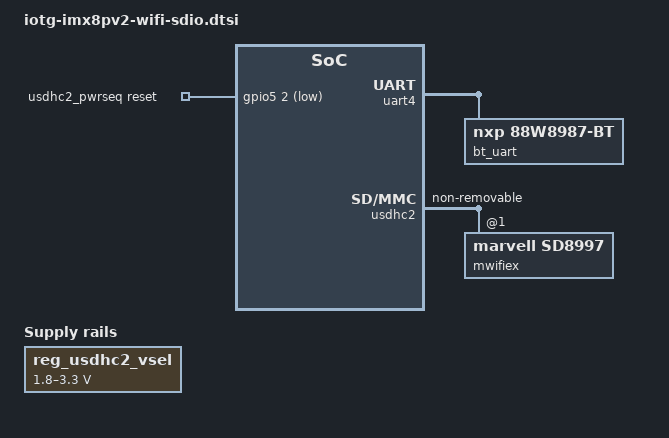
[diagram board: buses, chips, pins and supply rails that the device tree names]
/*
 * Copyright 2026 CompuLab
 */

/********** WiFi/BT **********/
&{/} {
	reg_usdhc2_vsel: regulator-usdhc2-vsel {
		compatible = "regulator-gpio";
		regulator-name = "sd-vsel";
		regulator-min-microvolt = <1800000>;
		regulator-max-microvolt = <3300000>;
		gpio = <&gpio1 4 GPIO_ACTIVE_HIGH>;
		states = <1800000 0x1 3300000 0x0>;
	};
	usdhc2_pwrseq: usdhc2_pwrseq {
		compatible = "mmc-pwrseq-simple";
		reset-gpios = <&gpio5 2 GPIO_ACTIVE_LOW>;
	};
};

&uart4 {
	uart-has-rtscts;
	status = "okay";

	bt_uart: bluetooth {
		compatible = "nxp,88w8987-bt";
		fw-init-baudrate = <3000000>;
	};
};

&usdhc2 {
	pinctrl-0 = <&pinctrl_usdhc2>, <&pinctrl_usdhc2_gpio>;
	pinctrl-1 = <&pinctrl_usdhc2_100mhz>, <&pinctrl_usdhc2_gpio>;
	pinctrl-2 = <&pinctrl_usdhc2_200mhz>, <&pinctrl_usdhc2_gpio>;
	non-removable;
	wakeup-source;
	mmc-pwrseq = <&usdhc2_pwrseq>;
	vqmmc-supply = <&reg_usdhc2_vsel>;
	#address-cells = <1>;
	#size-cells = <0>;
	status = "okay";

	mwifiex: wifi@1 {
		compatible = "marvell,sd8997";
		reg = <1>;
	};
};
/********** WiFi/BT - End **********/

&pcie {
	status = "disabled";
};
&pcie_phy {
	status = "disabled";
};

&pinctrl_uart4 {
	fsl,pins = <
		MX8MP_IOMUXC_UART4_TXD__UART4_DTE_RX				0x140
		MX8MP_IOMUXC_UART4_RXD__UART4_DTE_TX				0x140
		MX8MP_IOMUXC_ECSPI2_MISO__UART4_DTE_RTS				0x140
			MX8MP_IOMUXC_ECSPI2_SS0__UART4_DTE_CTS			0x140
	>;
};

&iomuxc {
	pinctrl_usdhc2_gpio: usdhc2grp-gpio {
		fsl,pins = <
			MX8MP_IOMUXC_GPIO1_IO04__GPIO1_IO04			0x100 /* SD2_VSEL */
			MX8MP_IOMUXC_SAI3_MCLK__GPIO5_IO02			0x140 /* WIFI_RSTn */
		>;
	};
};
